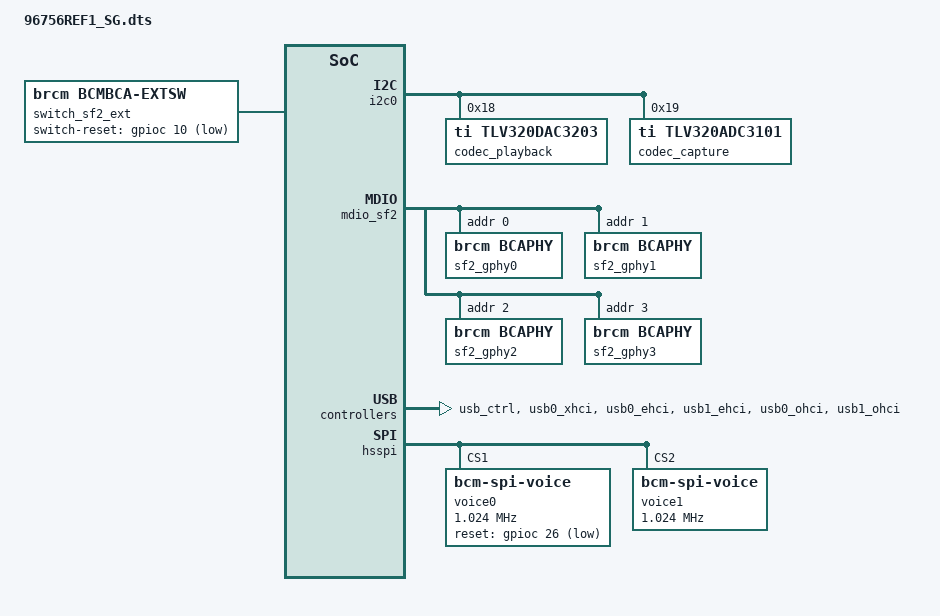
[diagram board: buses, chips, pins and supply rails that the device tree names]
#include "6756.dtsi"
#include "../bcm_voice.dtsi"

/ {
	memory_controller {
		memcfg = <(BP_DDR_SPEED_1067_14_14_14 | \
			BP_DDR_TOTAL_SIZE_512MB    | \
			BP_DDR_DEVICE_WIDTH_16     | \
			BP_DDR_TOTAL_WIDTH_16BIT   | \
			BP_DDR_6756_DEFAULT)>;
	};

	buttons {
		compatible = "brcm,buttons";
		ses_button {
			ext_irq = <&bca_extintr 4 BCA_GPIO_ACTIVE_LOW (BCA_EXTINTR_TYPE_LOW_LEVEL | BCA_EXTINTR_TYPE_SENSE_EDGE)>;
			release {
				ses_short_period = <0>;
				ses_long_period = <3>;
			};
		};
	};

	switch_sf2_ext:0 {
	};

};


&sysport {
    ethsw_ext = <&switch_sf2_ext>;
};

&i2c0 {
	pinctrl-names="default";
	pinctrl-0 = <&i2c_sda_pin_16 &i2c_scl_pin_17>;
	status = "okay";
	
	#address-cells = <1>;
	#size-cells = <0>;
	codec_playback:codec_palyback@18{
		compatible = "ti,tlv320dac3203";
		reg = <0x18>;
	};
	codec_capture:codec_capture@19{
		compatible = "ti,tlv320adc3101";
		reg = <0x19>;
	};
};

&mdio_sf2 {
	phy_ge:8 {
		status = "okay";
	};

	phy_m2m:m2m {
		compatible = "brcm,bcaphy";
		phy-type = "MAC2MAC";
		reg = <1>;
		status = "disabled";
	};

	phy_serdes0:serdes0 {
		phy-extswitch;
        config_speed = <2500>;
		status = "okay";
	};

	/* PHYs on external SF2 switch */
	sf2_gphy0:0 {
		compatible = "brcm,bcaphy";
		phy-type = "EGPHY";
		reg = <0>;
		status = "okay";
	};
	sf2_gphy1:1 {
		compatible = "brcm,bcaphy";
		phy-type = "EGPHY";
		reg = <1>;
		status = "okay";
	};
	sf2_gphy2:2 {
		compatible = "brcm,bcaphy";
		phy-type = "EGPHY";
		reg = <2>;
		status = "okay";
	};
	sf2_gphy3:3 {
		compatible = "brcm,bcaphy";
		phy-type = "EGPHY";
		reg = <3>;
		status = "okay";
	};
};

&switch_sf2_ext {                       /* linux/uboot: external sf2 */
	unit = <1>;
	sw-type = "SF2_SW";

	compatible = "brcm,bcmbca-extsw";
	extswsgmii_addr = <0x6>;
	switch-reset = <&gpioc 10 GPIO_ACTIVE_LOW>;

	ports {
		#address-cells = <1>;
		#size-cells = <0>;

		sf2_port0@0 {
			phy-handle = <&sf2_gphy0>;
			reg = <0>;
			mac-type = "SF2MAC";
			phy-mode = "gmii";
			gmii-direct;
			status = "okay";
		};
		sf2_port1@1 {
			phy-handle = <&sf2_gphy1>;
			reg = <1>;
			mac-type = "SF2MAC";
			phy-mode = "gmii";
			gmii-direct;
			status = "okay";
		};
		sf2_port2@2 {
			phy-handle = <&sf2_gphy2>;
			reg = <2>;
			mac-type = "SF2MAC";
			phy-mode = "gmii";
			gmii-direct;
			status = "okay";
		};
		sf2_port3@3 {
			phy-handle = <&sf2_gphy3>;
			reg = <3>;
			mac-type = "SF2MAC";
			phy-mode = "gmii";
			gmii-direct;
			status = "okay";
		};
		sf2_port5@5 {
			management;                     /* sf2_ext.p5 <--> root.p5  when P8_SGMII_SEL=0 */
			reg = <5>;
			mac-type = "SF2MAC";
			shrink-ipg;
			phy-mode = "gmii";
			gmii-direct;
			status = "okay";
		};
		sf2_port8@8 {
			management;                     /* sf2_ext.p8 <--> root.p5  when P8_SGMII_SEL=1 */
			reg = <8>;
			mac-type = "SF2MAC";
			shrink-ipg;
			phy-mode = "gmii";
			gmii-direct;
			status = "okay";
		};
	};
};

&switch0 {                              /* linux/uboot: internal sf2 */
	pinctrl-names = "default"; 
	pinctrl-0 = <&a_rgmii_mdc_pin_68 &a_rgmii_mdio_pin_69>; 

	ports {
		port0@0 {
			phy-handle = <&phy_ge>;
			status = "okay";
		};
		port5@5 {
			phy-handle = <&phy_serdes0>;           /* root.p5 <--> sf2.p8 */
			link = <&switch_sf2_ext>;
			shrink-ipg;
			status = "okay";
		};
	};
};

&usb_ctrl {
	pinctrl-names="default";
	pinctrl-0 = <&usb0_pwr_pins &usb1_pwr_pins>;
	pwron-bias-pull-up;
	status = "okay";
	xhci-enable;
};

&usb0_xhci {
	status = "okay";
};

&usb0_ehci {
	status = "okay";
};

&usb1_ehci {
	status = "okay";
};

&usb0_ohci {
	status = "okay";
};

&usb1_ohci {
	status = "okay";
};

&legacy_leds {
	wl-sess-led = <&led2>;
	wl0-led = <&led3>;
	wl1-led = <&led4>;
};
&led_ctrl {
	led0: port_0-led-0 {
		active_high;
		link = <(LED_SPEED_100|LED_SPEED_1G)>;
		pinctrl-0=<&a_per_led_00_pin_0>;
		status = "okay";
	};
	led1: port_0-led-2 {
		active_low;
		activity = <LED_SPEED_GBE>;
		pinctrl-0=<&a_per_led_03_pin_3>;
		status = "okay";
	};
	led2: sw_led_01 {
		active_low;
		pinctrl-0=<&a_per_led_01_pin_1>;
		status = "okay";
	};
	led3:led_gpio_7 {
		compatible = "brcm,gpio-led";
		software_led;
		pin = <7>;
		active_low;
	};
	led4:led_gpio_36 {
		compatible = "brcm,gpio-led";
		software_led;
		pin = <36>;
		active_low;
	};
};

&bcm_voice{
	sliclist = SLICSLAC_LIST_COMMON_NOFXO;
};

&hsspi {
	voice0 {
		pinctrl-0 = <&spim_ss1_b_pin_76>;
		pinctrl-names = "default";
		compatible = "bcm-spi-voice";
		reg = <1>; /* chip select 1 */
		spi-max-frequency = <1024000>;
		reset-gpio = <&gpioc 26 GPIO_ACTIVE_LOW>;
		spi-index = <0>;/* voice header index */
	};
	voice1 {
		pinctrl-0 = <&spim_ss2_b_pin_10>;
		pinctrl-names = "default";
		compatible = "bcm-spi-voice";
		reg = <2>; /* chip select 2 */
		spi-max-frequency = <1024000>;
		/*reset-gpio = NA*/
		spi-index = <1>;/* voice header index */
	};
};

/* For 3-wire BT Coex */
&pincontroller {
    pinctrl-names = "default";
    pinctrl-0 = <&wifi0_gci_gpio_0_pin_30 &wifi0_gci_gpio_1_pin_31 &wifi0_gci_gpio_2_pin_32>;
};
